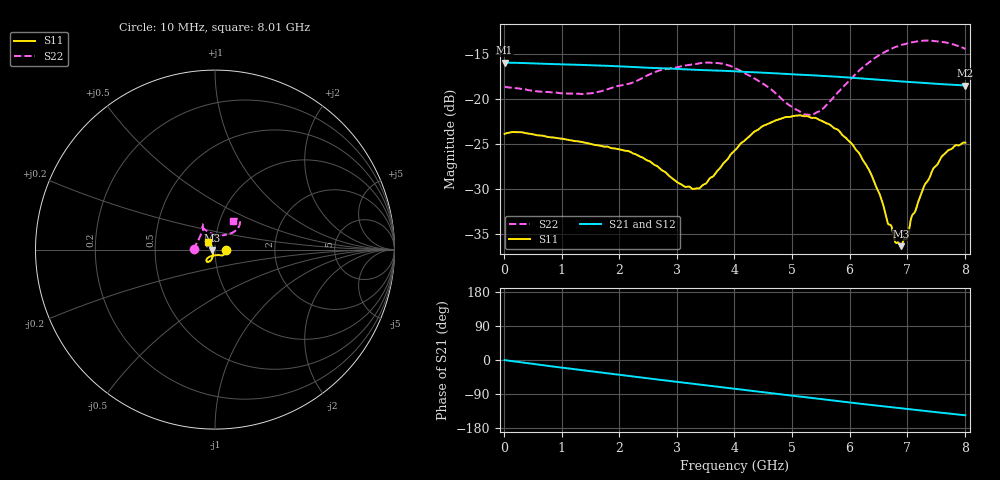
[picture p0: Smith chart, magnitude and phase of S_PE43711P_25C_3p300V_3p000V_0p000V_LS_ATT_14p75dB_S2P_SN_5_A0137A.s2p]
! Device ID: PE43711P
! File Path: z:\PE43711P\CHAR_NOM_04282014\AMB\3p300\LS_ATT_14p75dB\PE43711P_AMB_3p300V_3p000V_0p000V_LS_ATT_14p75dB_S2P_SN_5_A0137A.s2p
! Serial: 5
! Lot: A0137A
! Temp: 25C
! VDD: 3.300
! VSS: 0.000
! Control_Hi: 3.000
! Control_Lo: 0.000
! Attenuation Step: 14.75dB
! Port 1: RF1
! Port 2: RF2
! ThroughPath:1-2
! IDD: 0.0001278278
! ISS: -1.171e-007
#  Hz  S  RI  R  50
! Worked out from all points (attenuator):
!   801 points, 10 MHz to 8.01 GHz, reference 50 ohm
!   highest |S21| = -15.91 dB at 10 MHz (marker M1); lowest = -18.5 dB at 8.01 GHz (marker M2)
!   lowest |S11| = -36.4 dB at 6.89 GHz (marker M3), VSWR 1.03, Z = 48.5 - j0.304 ohm
!   |S11| at or under -10 dB: start of sweep to end of sweep
!   |S22| runs from -21.8 to -13.4 dB; largest |S21 - S12| = 0.00038
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1e7  0.064 5.04e-05  0.16 -0.000784  0.1603 -0.000829  -0.1176 0.00092
1.35e9  0.0504 -0.0281  0.1387 -0.0701  0.1388 -0.0701  -0.0923 0.0539
2.16e9  0.0394 -0.033  0.1123 -0.1021  0.1124 -0.1021  -0.0722 0.0978
2.68e9  0.0277 -0.0313  0.0922 -0.1171  0.0922 -0.1172  -0.0672 0.1276
3.11e9  0.0117 -0.0308  0.0741 -0.1271  0.0741 -0.1272  -0.0678 0.1375
3.37e9  -5.92e-05 -0.0318  0.0629 -0.1315  0.063 -0.1315  -0.0696 0.142
4.01e9  -0.0319 -0.0408  0.0344 -0.1389  0.0343 -0.139  -0.0745 0.1295
4.34e9  -0.0435 -0.0491  0.0195 -0.14  0.0195 -0.1401  -0.0617 0.1154
4.68e9  -0.0478 -0.0582  0.00412 -0.1395  0.00408 -0.1395  -0.0434 0.1015
5.05e9  -0.0459 -0.0666  -0.0118 -0.1371  -0.0119 -0.1371  -0.0126 0.0874
5.35e9  -0.0397 -0.068  -0.0243 -0.1338  -0.0243 -0.134  0.018 0.0797
5.79e9  -0.0258 -0.0626  -0.042 -0.1267  -0.0421 -0.1267  0.0681 0.0844
6.16e9  -0.0161 -0.0476  -0.0553 -0.1187  -0.0554 -0.1188  0.1048 0.0987
6.38e9  -0.0125 -0.0356  -0.0624 -0.1134  -0.0625 -0.1135  0.1213 0.1112
6.68e9  -0.0126 -0.0155  -0.071 -0.1055  -0.0709 -0.1056  0.1346 0.1319
6.8e9  -0.0133 -0.00856  -0.0741 -0.1022  -0.0741 -0.1023  0.1374 0.1396
6.89e9  -0.0148 -0.00313  -0.0764 -0.0998  -0.0763 -0.0999  0.1389 0.1445
6.99e9  -0.0163 0.00261  -0.0788 -0.0971  -0.0788 -0.0972  0.1391 0.1495
7.09e9  -0.0206 0.00929  -0.0813 -0.0943  -0.0813 -0.0944  0.1379 0.1555
7.46e9  -0.0304 0.0281  -0.0893 -0.0834  -0.0893 -0.0835  0.1263 0.1696
7.69e9  -0.0366 0.0356  -0.0935 -0.0766  -0.0935 -0.0765  0.1148 0.1718
8.01e9  -0.0408 0.0401  -0.0987 -0.0669  -0.099 -0.0666  0.1009 0.162
